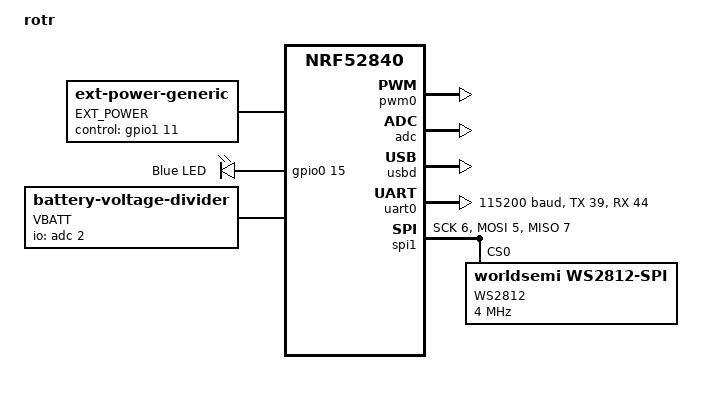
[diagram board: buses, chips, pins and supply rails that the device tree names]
/*
*
* Copyright (c) 2021 Polarity Works
* SPDX-License-Identifier: MIT
*
*/

/dts-v1/;
#include <nordic/nrf52840_qiaa.dtsi>

#include <dt-bindings/led/led.h>
#include <dt-bindings/zmk/matrix_transform.h>

/ {
	model = "rotr";
	compatible = "polarityworks,rotr";

	chosen {
		zephyr,code-partition = &code_partition;
		zephyr,sram = &sram0;
		zephyr,flash = &flash0;
		zmk,kscan = &kscan0;
		zmk,underglow = &led_strip;
		zmk,matrix_transform = &default_transform;
		zmk,battery = &vbatt;
		zephyr,console = &cdc_acm_uart;
	};

	default_transform: keymap_transform_0 {
		compatible = "zmk,matrix-transform";
		columns = <6>;
		rows = <1>;


					map = <
			RC(0,0) RC(0,1) RC(0,2) RC(0,3) RC(0,4) RC(0,5)
		>;
	};
	ext-power {
			compatible = "zmk,ext-power-generic";
			label = "EXT_POWER";
			control-gpios = <&gpio1 11 GPIO_ACTIVE_HIGH>;
		};
		leds {
		compatible = "gpio-leds";
		blue_led: led_0 {
			gpios = <&gpio0 15 GPIO_ACTIVE_HIGH>;
			label = "Blue LED";
		};
	};



	vbatt: vbatt {
		compatible = "zmk,battery-voltage-divider";
		label = "VBATT";
		io-channels = <&adc 2>;
		output-ohms = <100000>;
		full-ohms = <(100000 + 100000)>;
	};
};

&pwm0 {
	status = "okay";
};

&adc {
	status = "okay";
};

&gpiote {
	status = "okay";
};

&gpio0 {
	status = "okay";
};

&gpio1 {
	status = "okay";
};

&usbd {
	status = "okay";
	cdc_acm_uart: cdc_acm_uart {
    compatible = "zephyr,cdc-acm-uart";
    label = "CDC_ACM_0";
  };
};

&uart0 {
	compatible = "nordic,nrf-uarte";
	status = "okay";
	current-speed = <115200>;
	tx-pin = <39>;
	rx-pin = <44>;
	rts-pin = <34>;
	cts-pin = <9>;
};


&flash0 {
	/*
	 * For more information, see:
	 * http://docs.zephyrproject.org/latest/devices/dts/flash_partitions.html
	 */
	partitions {
		compatible = "fixed-partitions";
		#address-cells = <1>;
		#size-cells = <1>;

		sd_partition: partition@0 {
			label = "softdevice";
			reg = <0x00000000 0x00026000>;
		};
		code_partition: partition@26000 {
			label = "code_partition";
			reg = <0x00026000 0x000c6000>;
		};

		/*
		 * The flash starting at 0x000ec000 and ending at
		 * 0x000f3fff is reserved for use by the application.
		 */

		/*
		 * Storage partition will be used by FCB/LittleFS/NVS
		 * if enabled.
		 */
		storage_partition: partition@ec000 {
			label = "storage";
			reg = <0x000ec000 0x00008000>;
		};

		boot_partition: partition@f4000 {
			label = "adafruit_boot";
			reg = <0x000f4000 0x0000c000>;
		};
	};
};

&spi1 {
	compatible = "nordic,nrf-spim";
	status = "okay";
	mosi-pin = <5>;
	// Unused pins, needed for SPI definition, but not used by the ws2812 driver itself.
	sck-pin = <6>;
	miso-pin = <7>;

	led_strip: ws2812@0 {
		compatible = "worldsemi,ws2812-spi";
		label = "WS2812";

		/* SPI */
		reg = <0>;
		spi-max-frequency = <4000000>;

		/* WS2812 */
		chain-length = <3>; /* number of LEDs */
		spi-one-frame = <0x70>;
		spi-zero-frame = <0x40>;

		color-mapping = <LED_COLOR_ID_GREEN
                   LED_COLOR_ID_RED
                   LED_COLOR_ID_BLUE>;
	};
};
